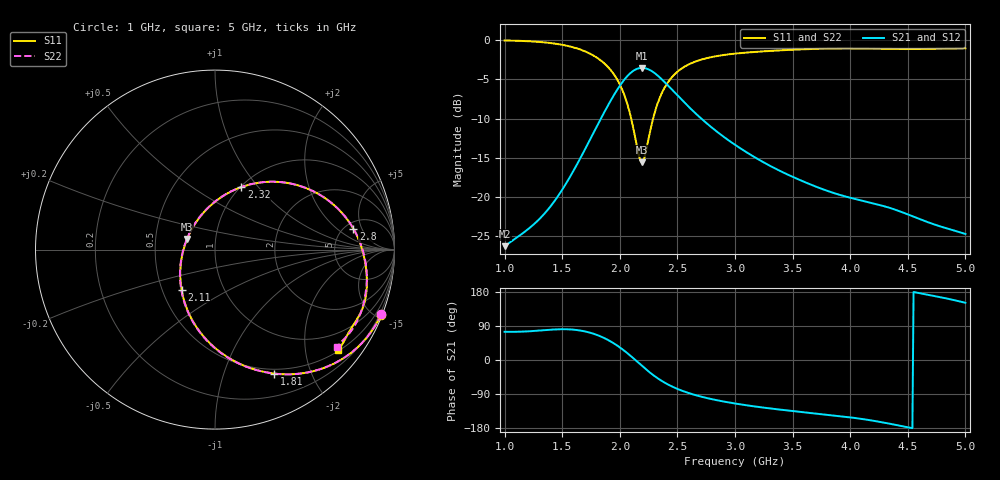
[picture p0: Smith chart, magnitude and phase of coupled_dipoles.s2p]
! Touchstone file from project dipole_model
! Exported from HFSS 15.0.0
! Variables:
!  dipole_length = 62.5mm
!  gap = 0.625mm
!  spacing = 12.5mm
!  thick = 1.25mm
!  wavelength = 125mm
# GHZ S MA R 50.000000
! Modal data exported
! Port[1] = 1:1
! Port[2] = 2:1
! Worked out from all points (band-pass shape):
!   401 points, 1 GHz to 5 GHz, reference 50 ohm
!   highest |S21| = -3.55 dB at 2.19 GHz (marker M1); lowest = -26.3 dB at 1 GHz (marker M2)
!   |S21| within 3 dB of the highest: 1.968 GHz to 2.467 GHz (498.9 MHz wide, 22.5 % of centre)
!   lowest |S11| = -15.6 dB at 2.19 GHz (marker M3), VSWR 1.40, Z = 36.3 + j4.4 ohm
!   |S11| at or under -10 dB: 2.099 GHz to 2.289 GHz (190.4 MHz wide, 8.68 % of centre)
!   |S22| runs from -15.5 to -0.1 dB; largest |S21 - S12| = 1.7e-09
!   S11 on the Smith chart (normalised r, x): 1 GHz: 0.09, -5.28; 1.81 GHz: 0.45, -1.49; 2.11 GHz: 0.63, -0.31; 2.32 GHz: 1.01, +0.82; 2.8 GHz: 5.96, +3.52; 5 GHz: 0.52, -2.73
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1  0.9938 -21.4  0.04862 74.4  0.04862 74.4  0.9939 -21.3
! Gamma ! 0 0 0 0
! Port Impedance 50 0 50 0
1.36  0.9638 -34.3  0.0805 79.1  0.0805 79.1  0.9642 -34.1
1.52  0.9262 -42.3  0.1174 81.2  0.1174 81.2  0.927 -42.1
1.67  0.863 -52.2  0.1839 77.1  0.1839 77.1  0.8648 -51.9
1.81  0.7643 -64.6  0.2904 65.1  0.2904 65.1  0.7675 -64.3
1.9  0.6702 -75.5  0.3864 52.5  0.3864 52.5  0.6746 -75.1
1.98  0.5561 -89.0  0.4856 37.6  0.4856 37.6  0.5615 -88.6
2.04  0.445 -103.3  0.5603 24.3  0.5603 24.3  0.4509 -102.8
2.11  0.2907 -129.8  0.6312 6.7  0.6312 6.7  0.2965 -129.1
2.16  0.1911 -166.2  0.6595 -6.7  0.6595 -6.7  0.1954 -164.5
2.19  0.1662 159.2  0.6649 -14.8  0.6649 -14.8  0.1679 161.5
2.22  0.186 124.3  0.6614 -22.7  0.6614 -22.7  0.1848 126.3
2.32  0.3785 67.1  0.6014 -46.4  0.6014 -46.4  0.3749 67.8
2.34  0.4161 61.1  0.5841 -50.6  0.5841 -50.6  0.4126 61.7
2.44  0.5658 40.3  0.4939 -68.0  0.4939 -68.0  0.5629 40.7
2.54  0.6609 27.3  0.4142 -81.1  0.4142 -81.1  0.6585 27.7
2.66  0.7309 16.9  0.3397 -92.9  0.3397 -92.9  0.729 17.3
2.8  0.7798 8.5  0.2764 -103.4  0.2764 -103.4  0.7786 8.9
3  0.8192 0.2  0.2151 -114.8  0.2151 -114.8  0.8196 0.6
3.67  0.8774 -16.2  0.119 -140.4  0.119 -140.4  0.873 -16.0
4.34  0.8775 -28.4  0.08543 -168.0  0.08543 -168.0  0.8861 -28.0
5  0.8862 -39.1  0.05816 151.0  0.05816 151.0  0.8708 -38.5
